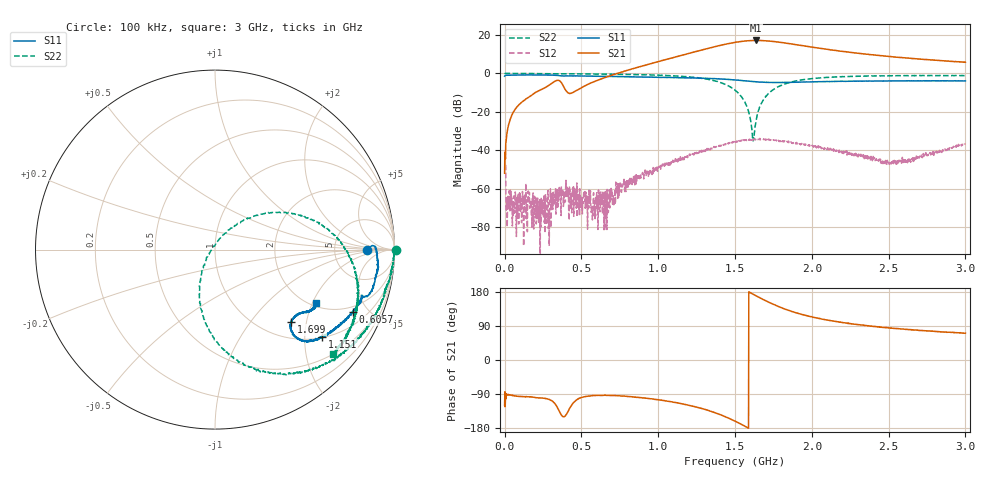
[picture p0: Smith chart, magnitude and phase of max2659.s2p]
! MAXIM INTEGRATED PRODUCTS
! MAX2659 GPS/GNSS Low-Noise Amplifier
! MAX2659 Typical Scattering Parameters at Vcc=+2.85V, 100KHz to 3GHz, TA = +25C
! Notes: This data is measured using MAX2659 EV KIT.
!  The measurements are referenced at the input and ouput pins of the IC using De-embedding
# Hz S dB R 50
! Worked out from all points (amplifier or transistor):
!   1601 points, 100 kHz to 3 GHz, reference 50 ohm
!   highest |S21| = 17.2 dB at 1.639 GHz (marker M1)
!   |S21| within 3 dB of that: 1.382 GHz to 1.961 GHz (578.3 MHz wide, 34.6 % of centre)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
!   unconditionally stable (mu >= 1): 1.424 MHz to 2.652 MHz; 24.31 MHz to 26.89 MHz; 34.32 MHz to end of sweep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
!   at 498.8 MHz: K = 43.01, MAG = 10.6 dB, |S12| = -67.5 dB
!   at 1.5 GHz: K = 2.52, MAG = 19.1 dB, |S12| = -35.7 dB
!   at 3 GHz: K = 1.92, MAG = 15.8 dB, |S12| = -36.9 dB
!   S11 on the Smith chart (normalised r, x): 100 kHz: 12, -0; 605.7 MHz: 1.65, -3.99; 1.151 GHz: 1.03, -2.44; 1.699 GHz: 1.33, -1.63; 3 GHz: 2.13, -2.14
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100000  -1.43 -0.0  -51.98 -119.4  -47.64 -8.8  0.07 -0.1
2.447419e7  -0.96 0.4  -27.15 -90.8  -70.04 -113.6  -0.00 -1.0
1.013466e8  -0.85 -3.9  -15.76 -96.3  -62.75 -157.1  -0.05 -4.1
2.775908e8  -0.85 -12.9  -6.73 -102.4  -68.86 -5.1  -0.14 -10.7
3.638379e8  -1.23 -17.6  -4.26 -141.2  -64.73 121.4  -0.22 -13.7
5.007083e8  -1.33 -20.9  -7.44 -98.8  -63.74 -158.5  -0.22 -19.3
6.057048e8  -1.47 -24.4  -3.56 -93.4  -65.57 -107.6  -0.37 -23.3
1.001317e9  -2.04 -35.1  6.16 -105.2  -49.20 -139.2  -0.91 -43.0
1.151312e9  -2.28 -39.1  9.38 -115.4  -44.47 -151.1  -1.47 -53.8
1.263808e9  -2.45 -41.6  11.73 -125.8  -41.55 -163.6  -2.36 -64.6
1.368804e9  -2.72 -44.4  13.90 -138.9  -38.35 -169.2  -3.85 -78.0
1.436302e9  -3.04 -46.0  15.19 -149.6  -36.73 -177.5  -5.73 -88.6
1.50005e9  -3.44 -47.3  16.15 -161.3  -35.65 169.8  -8.77 -100.9
1.573173e9  -3.94 -47.2  16.94 -176.5  -34.48 158.7  -16.60 -119.5
1.616296e9  -4.25 -46.6  17.11 173.8  -34.52 148.4  -34.87 -179.7
1.638795e9  -4.33 -46.0  17.15 169.0  -34.61 147.7  -23.96 68.0
1.698793e9  -4.65 -43.6  16.95 156.5  -34.24 135.1  -12.03 43.9
1.818789e9  -4.70 -39.3  15.91 135.3  -35.63 119.6  -5.70 21.2
2.000658e9  -4.37 -35.6  13.72 113.8  -37.83 108.9  -2.69 -0.2
2.218151e9  -4.15 -33.6  11.33 97.8  -40.83 108.4  -1.66 -15.4
2.501267e9  -3.90 -31.6  8.80 84.5  -46.46 136.0  -1.20 -27.7
3e9  -3.89 -27.7  5.81 70.8  -36.91 -156.4  -1.14 -41.7
